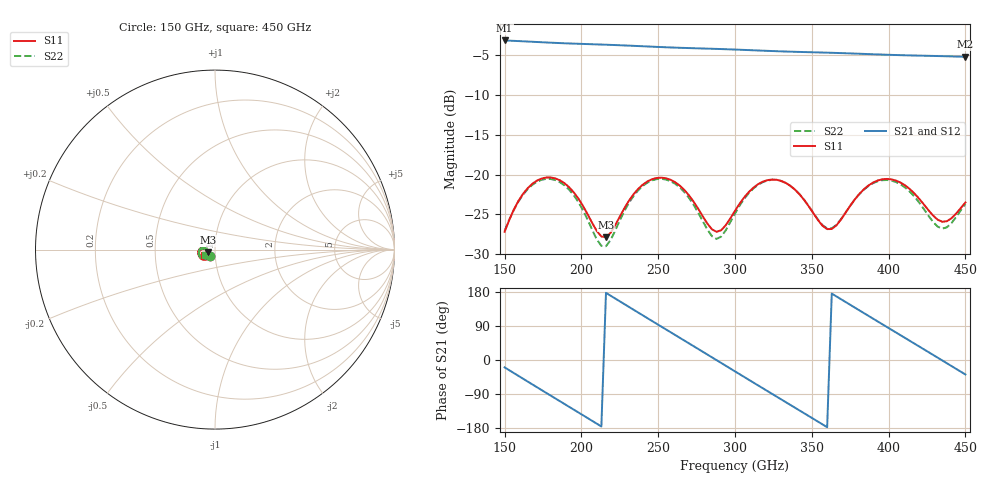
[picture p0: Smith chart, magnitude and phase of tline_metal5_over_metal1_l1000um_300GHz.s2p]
#  GHZ S DB R 50
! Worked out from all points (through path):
!   101 points, 150 GHz to 450 GHz, reference 50 ohm
!   highest |S21| = -3.12 dB at 150 GHz (marker M1); lowest = -5.2 dB at 450 GHz (marker M2)
!   group delay of S21, straight-line fit = 6.84 ps
!   lowest |S11| = -27.9 dB at 216 GHz (marker M3), VSWR 1.08, Z = 46.4 - j1.44 ohm
!   |S11| at or under -10 dB: start of sweep to end of sweep
!   |S22| runs from -29.0 to -20.5 dB; largest |S21 - S12| = 0
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150  -27.21 -127.9  -3.12 -19.5  -3.12 -19.5  -27.09 -131.9
165  -21.73 -135.4  -3.25 -56.8  -3.25 -56.8  -21.84 -138.5
177  -20.38 -154.2  -3.37 -86.5  -3.37 -86.5  -20.55 -157.3
189  -21.10 -172.8  -3.47 -116.1  -3.47 -116.1  -21.37 -176.3
201  -23.94 176.0  -3.56 -145.7  -3.56 -145.7  -24.48 171.9
216  -27.89 -157.4  -3.65 177.1  -3.65 177.1  -29.02 -156.2
237  -21.80 -143.7  -3.82 125.1  -3.82 125.1  -21.98 -142.3
252  -20.39 -163.8  -3.95 88.2  -3.95 88.2  -20.55 -163.8
264  -21.39 -179.7  -4.04 58.7  -4.04 58.7  -21.62 179.4
279  -25.26 174.8  -4.13 21.8  -4.13 21.8  -25.87 173.4
288  -27.22 -167.0  -4.18 -0.4  -4.18 -0.4  -28.11 -165.3
300  -24.57 -145.4  -4.26 -30.0  -4.26 -30.0  -24.91 -141.5
324  -20.63 -165.8  -4.45 -89.0  -4.45 -89.0  -20.67 -163.7
336  -21.41 179.3  -4.53 -118.4  -4.53 -118.4  -21.42 -178.9
351  -24.87 173.3  -4.61 -155.2  -4.61 -155.2  -24.83 174.6
360  -26.88 -171.5  -4.66 -177.4  -4.66 -177.4  -26.79 -170.7
372  -24.81 -148.9  -4.73 153.1  -4.73 153.1  -24.78 -148.9
387  -21.37 -154.8  -4.83 116.2  -4.83 116.2  -21.43 -155.1
402  -20.61 -172.6  -4.94 79.5  -4.94 79.5  -20.78 -173.3
426  -24.51 173.6  -5.05 20.8  -5.05 20.8  -25.20 173.4
438  -25.88 -167.3  -5.11 -8.7  -5.11 -8.7  -26.64 -162.8
450  -23.52 -155.5  -5.18 -38.2  -5.18 -38.2  -23.69 -149.8
